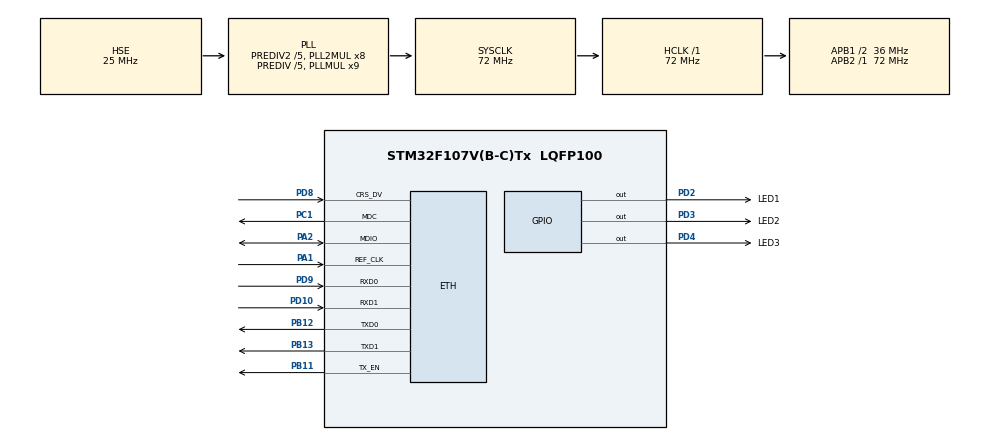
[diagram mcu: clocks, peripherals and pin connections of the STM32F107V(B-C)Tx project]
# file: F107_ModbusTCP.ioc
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ETH.MediaInterface=ETH_MEDIA_INTERFACE_RMII
FREERTOS.INCLUDE_uxTaskGetStackHighWaterMark2=1
FREERTOS.TOTAL_HEAP_SIZE=20480
FREERTOS.Tasks01=defaultTask,0,512,StartDefaultTask,Default,NULL,Dynamic,NULL,NULL
FREERTOS.configTOTAL_HEAP_SIZE=20480
LWIP.IP_ADDRESS=192.168.010.050
LWIP.LWIP_DHCP=0
LWIP.MEM_SIZE=4096
LWIP.NETMASK_ADDRESS=255.255.255.000
LWIP.RTOS_USE_NEWLIB_REENTRANT=FREERTOS$context\:USE_NEWLIB_REENTRANT
LWIP.Version=v2.0.3_Cube
Mcu.Family=STM32F1
Mcu.Name=STM32F107V(B-C)Tx
Mcu.Package=LQFP100
NVIC.ETH_IRQn=true\:5\:0\:false\:false\:true\:true\:true\:true\:true
NVIC.PriorityGroup=NVIC_PRIORITYGROUP_4
NVIC.TIM2_IRQn=true\:15\:0\:false\:false\:true\:false\:false\:true\:true
NVIC.TimeBase=TIM2_IRQn
NVIC.TimeBaseIP=TIM2
OSC_IN.Mode=HSE-External-Oscillator
OSC_IN.Signal=RCC_OSC_IN
OSC_OUT.Mode=HSE-External-Oscillator
OSC_OUT.Signal=RCC_OSC_OUT
PA1.Mode=RMII
PA1.Signal=ETH_REF_CLK
PA13.Mode=Serial_Wire
PA13.Signal=SYS_JTMS-SWDIO
PA14.Mode=Serial_Wire
PA14.Signal=SYS_JTCK-SWCLK
PA2.Mode=RMII
PA2.Signal=ETH_MDIO
PB11.Mode=RMII
PB11.Signal=ETH_TX_EN
PB12.Mode=RMII
PB12.Signal=ETH_TXD0
PB13.Mode=RMII
PB13.Signal=ETH_TXD1
PC1.Mode=RMII
PC1.Signal=ETH_MDC
PD10.GPIO_PuPd=GPIO_NOPULL
PD10.Mode=RMII
PD10.Signal=ETH_RXD1
PD2.GPIO_Label=LED1
PD2.Signal=GPIO_Output
PD3.GPIO_Label=LED2
PD3.Signal=GPIO_Output
PD4.GPIO_Label=LED3
PD4.Signal=GPIO_Output
PD8.GPIO_PuPd=GPIO_NOPULL
PD8.Mode=RMII
PD8.Signal=ETH_CRS_DV
PD9.GPIO_PuPd=GPIO_NOPULL
PD9.Mode=RMII
PD9.Signal=ETH_RXD0
ProjectManager.HeapSize=0x200
ProjectManager.StackSize=0x400
ProjectManager.TargetToolchain=MDK-ARM V5.32
RCC.AHBFreq_Value=72000000
RCC.APB1CLKDivider=RCC_HCLK_DIV2
RCC.APB1Freq_Value=36000000
RCC.APB1TimFreq_Value=72000000
RCC.APB2Freq_Value=72000000
RCC.APB2TimFreq_Value=72000000
RCC.HCLKFreq_Value=72000000
RCC.HSEDivPLL=RCC_HSE_PREDIV_DIV5
RCC.HSE_VALUE=25000000
RCC.PLLMUL=RCC_PLL_MUL9
RCC.PLLSourceVirtual=RCC_PLLSOURCE_HSE
RCC.Prediv1Source=RCC_PREDIV1_SOURCE_PLL2
RCC.Prediv2=RCC_HSE_PREDIV2_DIV5
RCC.SYSCLKFreq_VALUE=72000000
RCC.SYSCLKSource=RCC_SYSCLKSOURCE_PLLCLK
RCC.USBFreq_Value=48000000
VP_FREERTOS_VS_CMSIS_V1.Mode=CMSIS_V1
VP_LWIP_VS_Enabled.Mode=Enabled
VP_SYS_VS_tim2.Mode=TIM2
board=custom

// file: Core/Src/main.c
/* USER CODE BEGIN Header */
/**
  ******************************************************************************
  * @file           : main.c
  * @brief          : Main program body
  ******************************************************************************
  * @attention
  *
  * Copyright (c) 2026 STMicroelectronics.
  * All rights reserved.
  *
  * This software is licensed under terms that can be found in the LICENSE file
  * in the root directory of this software component.
  * If no LICENSE file comes with this software, it is provided AS-IS.
  *
  ******************************************************************************
  */
/* USER CODE END Header */
#include "main.h"
#include "cmsis_os.h"
#include "lwip.h"
#include "gpio.h"

/* USER CODE BEGIN PV */
/* Legacy PHY watch variables retained from hardware bring-up.
 * This file declares them but does not perform PHY register reads.
 */
volatile uint16_t phy_addr;
volatile uint32_t phy_id1;
volatile uint32_t phy_id2;
volatile uint32_t phy_bmsr;
volatile uint32_t phy_link;
volatile HAL_StatusTypeDef phy_read_status;
uint32_t base_test_cycles = 0;
/* USER CODE END PV */

void SystemClock_Config(void);
void MX_FREERTOS_Init(void);

/* Boot sequence: HAL and its time base, board clock, GPIO, task creation, scheduler.
 * Network services start later from StartDefaultTask, after the scheduler runs.
 */
int main(void)
{

  /* MCU Configuration--------------------------------------------------------*/

  /* Reset of all peripherals, Initializes the Flash interface and the Systick. */
  HAL_Init();

  /* Configure the system clock */
  SystemClock_Config();

  /* Initialize all configured peripherals */
  MX_GPIO_Init();
  /* USER CODE BEGIN 2 */
/* USER CODE BEGIN 2 */

/* USER CODE END 2 */
  /* USER CODE END 2 */

  /* Call init function for freertos objects (in cmsis_os2.c) */
  MX_FREERTOS_Init();

  /* Start scheduler */
  osKernelStart();

  /* We should never get here as control is now taken by the scheduler */

  /* Infinite loop */
  while (1)
  {

  }
}

/* Existing oscillator chain is preserved: HSE / 5 -> PLL2 x 8 -> / 5 -> PLL x 9.
 * With the configured 25 MHz HSE, SYSCLK is 72 MHz; APB1 is 36 MHz, APB2 72 MHz.
 * Keep these divisors coupled to the actual board oscillator and Ethernet design.
 */
void SystemClock_Config(void)
{
  RCC_OscInitTypeDef RCC_OscInitStruct = {0};
  RCC_ClkInitTypeDef RCC_ClkInitStruct = {0};

  /** Initializes the RCC Oscillators according to the specified parameters
  * in the RCC_OscInitTypeDef structure.
  */
  RCC_OscInitStruct.OscillatorType = RCC_OSCILLATORTYPE_HSE;
  RCC_OscInitStruct.HSEState = RCC_HSE_ON;
  RCC_OscInitStruct.HSEPredivValue = RCC_HSE_PREDIV_DIV5;
  RCC_OscInitStruct.HSIState = RCC_HSI_ON;
  RCC_OscInitStruct.Prediv1Source = RCC_PREDIV1_SOURCE_PLL2;
  RCC_OscInitStruct.PLL.PLLState = RCC_PLL_ON;
  RCC_OscInitStruct.PLL.PLLSource = RCC_PLLSOURCE_HSE;
  RCC_OscInitStruct.PLL.PLLMUL = RCC_PLL_MUL9;
  RCC_OscInitStruct.PLL2.PLL2State = RCC_PLL2_ON;
  RCC_OscInitStruct.PLL2.PLL2MUL = RCC_PLL2_MUL8;
  RCC_OscInitStruct.PLL2.HSEPrediv2Value = RCC_HSE_PREDIV2_DIV5;
  if (HAL_RCC_OscConfig(&RCC_OscInitStruct) != HAL_OK)
  {
    Error_Handler();
  }

  /** Initializes the CPU, AHB and APB buses clocks
  */
  RCC_ClkInitStruct.ClockType = RCC_CLOCKTYPE_HCLK|RCC_CLOCKTYPE_SYSCLK
                              |RCC_CLOCKTYPE_PCLK1|RCC_CLOCKTYPE_PCLK2;
  RCC_ClkInitStruct.SYSCLKSource = RCC_SYSCLKSOURCE_PLLCLK;
  RCC_ClkInitStruct.AHBCLKDivider = RCC_SYSCLK_DIV1;
  RCC_ClkInitStruct.APB1CLKDivider = RCC_HCLK_DIV2;
  RCC_ClkInitStruct.APB2CLKDivider = RCC_HCLK_DIV1;

  if (HAL_RCC_ClockConfig(&RCC_ClkInitStruct, FLASH_LATENCY_2) != HAL_OK)
  {
    Error_Handler();
  }

  /** Configure the Systick interrupt time
  */
  __HAL_RCC_PLLI2S_ENABLE();
}

/* TIM2 supplies the HAL millisecond tick. FreeRTOS uses SysTick separately. */
void HAL_TIM_PeriodElapsedCallback(TIM_HandleTypeDef *htim)
{
  if (htim->Instance == TIM2)
  {
    HAL_IncTick();
  }
}

/* Fatal HAL initialization path: disable interrupts and halt for debugger inspection. */
void Error_Handler(void)
{
  __disable_irq();
  while (1)
  {
  }
}

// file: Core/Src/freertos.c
/* USER CODE BEGIN Header */
/**
  ******************************************************************************
  * File Name          : freertos.c
  * Description        : Code for freertos applications
  ******************************************************************************
  * @attention
  *
  * Copyright (c) 2026 STMicroelectronics.
  * All rights reserved.
  *
  * This software is licensed under terms that can be found in the LICENSE file
  * in the root directory of this software component.
  * If no LICENSE file comes with this software, it is provided AS-IS.
  *
  ******************************************************************************
  */
/* USER CODE END Header */

#include "FreeRTOS.h"
#include "task.h"
#include "main.h"
#include "cmsis_os.h"

/* USER CODE BEGIN Includes */
#include "lwip.h"
#include "lwip/netif.h"
#include "modbus_tcp.h"
#include "ip_discovery.h"
#include "network_identity.h"
#include "mbscan.h"
#include "lwip/netifapi.h"
#include "lwip/ip4_addr.h"
/* USER CODE END Includes */

/* USER CODE BEGIN Variables */
/* Debugger-only observations: startup stages, assertion location and loop counts.
 * These variables are not application commands or sensor measurements.
 */
extern volatile uint32_t lwip_stage;
const char * volatile debug_error_file = NULL;
const char * volatile debug_error_expression = NULL;
volatile uint32_t debug_error_line = 0;
volatile uint32_t lwip_init_done = 0;
volatile uint32_t led_test_cycles = 0;
extern struct netif gnetif;
extern ETH_HandleTypeDef heth;

/* Read these fields in the debugger Watch window. */
typedef struct
{
    char ip[16];
    char netmask[16];
    char gateway[16];
    char mac[18];

    uint32_t interface_up;
    uint32_t link_up;

    uint32_t modbus_port;
    uint32_t discovery_port;

    uint32_t heap_free_bytes;
    uint32_t heap_min_free_bytes;

    uint32_t uid[3];

    int32_t snapshot_status;
    uint32_t update_count;
} NetworkDebug_t;

volatile NetworkDebug_t net_dbg;
/* FreeRTOS heap measurements are bytes; minimum is the low watermark since boot.
 * net_flags_dbg and eth_state_dbg are diagnostic snapshots, not synchronization.
 */
volatile uint32_t network_free_heap = 0;
volatile uint32_t network_min_free_heap = 0;
volatile uint32_t net_flags_dbg = 0;
volatile uint32_t eth_state_dbg = 0;
/* USER CODE END Variables */
osThreadId defaultTaskHandle;
osThreadId modbusTaskHandle;
osThreadId discoveryTaskHandle;
osThreadId mbscanTaskHandle;

/* USER CODE BEGIN FunctionPrototypes */
static void NetworkDebug_Update(void);
/* USER CODE END FunctionPrototypes */

void StartDefaultTask(void const * argument);

extern void MX_LWIP_Init(void);
void MX_FREERTOS_Init(void); /* (MISRA C 2004 rule 8.1) */

/* GetIdleTaskMemory prototype (linked to static allocation support) */
void vApplicationGetIdleTaskMemory( StaticTask_t **ppxIdleTaskTCBBuffer, StackType_t **ppxIdleTaskStackBuffer, uint32_t *pulIdleTaskStackSize );

/* USER CODE BEGIN GET_IDLE_TASK_MEMORY */
/* Static storage required by configSUPPORT_STATIC_ALLOCATION for the idle task. */
static StaticTask_t xIdleTaskTCBBuffer;
static StackType_t xIdleStack[configMINIMAL_STACK_SIZE];

void vApplicationGetIdleTaskMemory( StaticTask_t **ppxIdleTaskTCBBuffer, StackType_t **ppxIdleTaskStackBuffer, uint32_t *pulIdleTaskStackSize )
{
  *ppxIdleTaskTCBBuffer = &xIdleTaskTCBBuffer;
  *ppxIdleTaskStackBuffer = &xIdleStack[0];
  *pulIdleTaskStackSize = configMINIMAL_STACK_SIZE;
  /* place for user code */
}
/* USER CODE END GET_IDLE_TASK_MEMORY */

/* Create the default task before scheduler start; network tasks are created later. */
void MX_FREERTOS_Init(void) {

  /* Create the thread(s) */
  /* definition and creation of defaultTask */
  osThreadDef(defaultTask, StartDefaultTask, osPriorityNormal, 0, 512);
  defaultTaskHandle = osThreadCreate(osThread(defaultTask), NULL);

}

/* Initialize lwIP before either Netconn service is started.
 * Task-creation failures halt through configASSERT; successful startup continues
 * with LED diagnostics and heap monitoring, not sensor acquisition.
 */
void StartDefaultTask(void const * argument)
{
  /* init code for LWIP */
  lwip_stage = 10;
  MX_LWIP_Init();
  /* USER CODE BEGIN StartDefaultTask */
  lwip_init_done = 1;
  NetworkIdentity_Start();
  /* Preserve startup order: Modbus first, discovery second, both after lwIP. */
  modbusTaskHandle = ModbusTCP_Start();
  configASSERT(modbusTaskHandle != NULL);
  discoveryTaskHandle = IPDiscovery_Start();
  configASSERT(discoveryTaskHandle != NULL);
#if MBSCAN_ENABLE
  /* Hybrid Modbus-TCP device IP discovery; owns the interface until it finishes. */
  mbscanTaskHandle = MbScan_Start();
  configASSERT(mbscanTaskHandle != NULL);
#endif
  /* Infinite loop */
  for(;;)
  {
		NetworkIdentity_Poll();
        NetworkDebug_Update();
    network_free_heap = (uint32_t)xPortGetFreeHeapSize();
    network_min_free_heap = (uint32_t)xPortGetMinimumEverFreeHeapSize();
    net_flags_dbg = (uint32_t)gnetif.flags;
    eth_state_dbg = (uint32_t)heth.State;
    /* Sequential LED toggles, each followed by 500 ms delay.
     * One monitoring loop takes at least 1500 ms; each LED toggles once per loop.
     */
    HAL_GPIO_TogglePin(GPIOD, GPIO_PIN_2);  /* LED1 */
    osDelay(500);

    HAL_GPIO_TogglePin(GPIOD, GPIO_PIN_3);  /* LED2 */
    osDelay(500);

    HAL_GPIO_TogglePin(GPIOD, GPIO_PIN_4);  /* LED3 */
    osDelay(500);
    ++led_test_cycles;
  }
  /* USER CODE END StartDefaultTask */
}

/* USER CODE BEGIN Application */
/* Fatal assertion handler shared by FreeRTOS and lwIP.
 * Inspect debug_error_file, debug_error_line and debug_error_expression.
 * Interrupts remain disabled and execution stops; this path does not recover.
 */
void debug_assert_failed(const char *file, uint32_t line,
                         const char *expression)
{
    taskDISABLE_INTERRUPTS();
    debug_error_file = file;
    debug_error_line = line;
    debug_error_expression = expression;
    for (;;)
    {
    }
}
/*
 * Convert an IPv4 address into readable text.
 * No dynamic memory allocation is used here.
 */
static void NetworkDebug_CopyIPv4(volatile char *destination,
                                  const ip4_addr_t *address)
{
    char text[16] = {0};
    uint32_t i;

    ip4addr_ntoa_r(address, text, sizeof(text));

    for (i = 0; i < sizeof(text); ++i)
    {
        destination[i] = text[i];
    }
}

/*
 * This callback runs inside lwIP's tcpip_thread.
 * Read the network interface here instead of reading it
 * directly from another task.
 */
static void NetworkDebug_Snapshot(struct netif *interface)
{
    static const char hex[] = "0123456789ABCDEF";
    uint32_t i;
    uint8_t value;

    NetworkDebug_CopyIPv4(net_dbg.ip,
                          netif_ip4_addr(interface));

    NetworkDebug_CopyIPv4(net_dbg.netmask,
                          netif_ip4_netmask(interface));

    NetworkDebug_CopyIPv4(net_dbg.gateway,
                          netif_ip4_gw(interface));

    /* Format the Ethernet MAC as XX:XX:XX:XX:XX:XX. */
    for (i = 0; i < 6U; ++i)
    {
        value = interface->hwaddr[i];

        net_dbg.mac[3U * i] =
            hex[(value >> 4) & 0x0FU];

        net_dbg.mac[3U * i + 1U] =
            hex[value & 0x0FU];

        if (i < 5U)
        {
            net_dbg.mac[3U * i + 2U] = ':';
        }
    }

    net_dbg.mac[17] = '\0';

    /* Administrative state and physical link state are different. */
    net_dbg.interface_up = netif_is_up(interface) ? 1U : 0U;
    net_dbg.link_up = netif_is_link_up(interface) ? 1U : 0U;
}

/*
 * Call this function from the default task after MX_LWIP_Init().
 * Do not call it from an interrupt or from tcpip_thread itself.
 */
static void NetworkDebug_Update(void)
{
    err_t status;

    status = netifapi_netif_common(&gnetif,
                                   NetworkDebug_Snapshot,
                                   NULL);

    net_dbg.snapshot_status = (int32_t)status;

    net_dbg.modbus_port = 502U;
    net_dbg.discovery_port = 30303U;

    net_dbg.heap_free_bytes =
        (uint32_t)xPortGetFreeHeapSize();

    net_dbg.heap_min_free_bytes =
        (uint32_t)xPortGetMinimumEverFreeHeapSize();

    net_dbg.uid[0] = HAL_GetUIDw0();
    net_dbg.uid[1] = HAL_GetUIDw1();
    net_dbg.uid[2] = HAL_GetUIDw2();

    if (status == ERR_OK)
    {
        ++net_dbg.update_count;
    }
}

/* USER CODE END Application */
